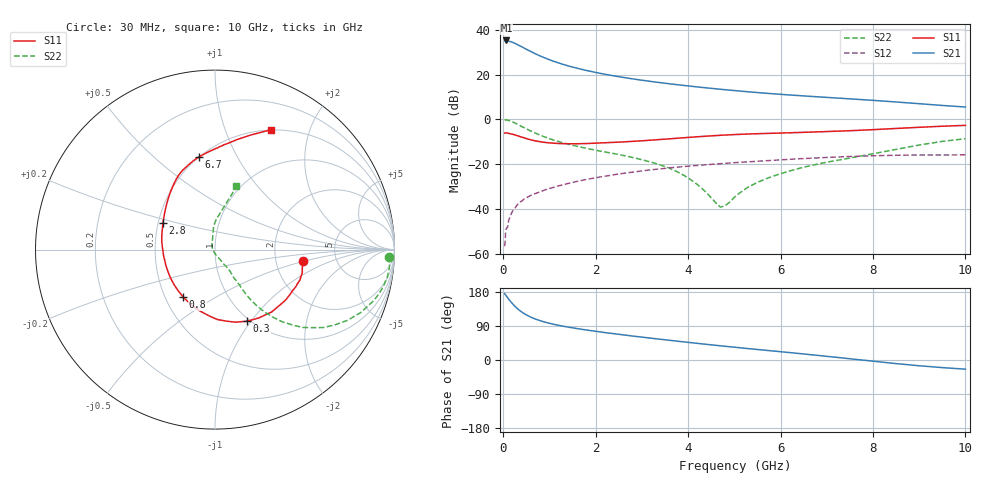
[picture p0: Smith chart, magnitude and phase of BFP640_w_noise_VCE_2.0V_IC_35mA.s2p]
! Infineon Technologies  Discrete & RF Semiconductors
! BFP640
! VCE =  2.0 V,  IC =  35 mA
! Common Emitter S-Parameters:  Apr 2013
# GHz  S  MA  R  50
!  f  S11  S21  S12  S22
! GHz  MAG  ANG  MAG  ANG  MAG  ANG  MAG  ANG
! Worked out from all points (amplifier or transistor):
!   99 points, 30 MHz to 10 GHz, reference 50 ohm
!   highest |S21| = 35.2 dB at 70 MHz (marker M1)
!   |S21| within 3 dB of that: start of sweep to 417.9 MHz
!   unconditionally stable (mu >= 1): 1.97 GHz to end of sweep
!   at 350 MHz: K = 0.41, MSG = 34.9 dB, |S12| = -37.0 dB
!   at 3.5 GHz: K = 1.06, MAG = 17.5 dB, |S12| = -21.8 dB
!   at 10 GHz: K = 1.07, MAG = 9.1 dB, |S12| = -15.8 dB
!   lowest NFmin = 1.16 dB at 450 MHz
!   S11 on the Smith chart (normalised r, x): 30 MHz: 2.88, -0.49; 300 MHz: 0.97, -0.96; 800 MHz: 0.62, -0.36; 2.8 GHz: 0.53, +0.17; 6.7 GHz: 0.50, +0.71; 10 GHz: 0.50, +1.45
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0.03  0.4964 -7.5  56.37 175.2  0.0015 79.1  0.9701 -2.3
0.05  0.4982 -12.9  57.28 172.1  0.0029 70.5  0.9763 -5.4
0.07  0.5019 -17.5  57.49 168.6  0.0038 89.2  0.9736 -7.8
0.13  0.485 -32.5  54.95 158.8  0.006 78.6  0.9422 -15.7
0.2  0.4696 -47.6  52.2 148.6  0.009 75.3  0.8841 -23.4
0.25  0.4522 -57.4  49.82 142.1  0.0104 72.0  0.8368 -28.1
0.3  0.4371 -65.9  47.05 136.3  0.0124 69.1  0.7878 -32.2
0.4  0.4037 -80.9  41.68 126.7  0.0151 68.0  0.6954 -38.7
0.5  0.3741 -93.8  36.68 119.1  0.0179 65.8  0.6169 -43.5
0.6  0.3505 -105.0  32.47 112.9  0.0204 64.5  0.5501 -47.0
0.7  0.3315 -115.0  28.87 107.9  0.0224 63.5  0.494 -49.5
0.8  0.3185 -123.7  25.92 103.7  0.0244 62.9  0.4469 -51.4
1.1  0.2951 -145.5  19.61 94.0  0.0308 61.1  0.3443 -54.5
1.4  0.2876 -162.0  15.67 86.9  0.0374 60.3  0.2818 -55.4
1.7  0.2889 -175.0  13.03 81.0  0.0438 58.7  0.2388 -55.2
2.2  0.302 168.8  10.16 72.4  0.0543 55.6  0.1885 -56.1
2.8  0.3247 153.2  8.011 63.2  0.0669 51.1  0.1417 -55.3
3.4  0.3578 140.4  6.597 54.7  0.0792 46.1  0.0967 -58.5
5.1  0.4644 115.3  4.307 32.6  0.1102 31.1  0.0224 136.8
6.7  0.5244 99.7  3.242 13.4  0.1375 16.8  0.0958 96.5
8.5  0.6291 78.1  2.449 -9.5  0.1592 -1.6  0.215 80.9
10  0.7377 64.9  1.89 -24.2  0.1626 -13.5  0.3713 71.7
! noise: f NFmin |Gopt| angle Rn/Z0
0.45  1.16  0.22  -170  0.04
0.9  1.17  0.23  -159  0.07
1.5  1.18  0.26  -144  0.08
1.9  1.18  0.27  224  0.1
2.4  1.23  0.29  -122  0.11
3.5  1.36  0.34  -105  0.15
5.5  1.57  0.38  -91  0.23
10  2.02  0.62  -50  0.64
